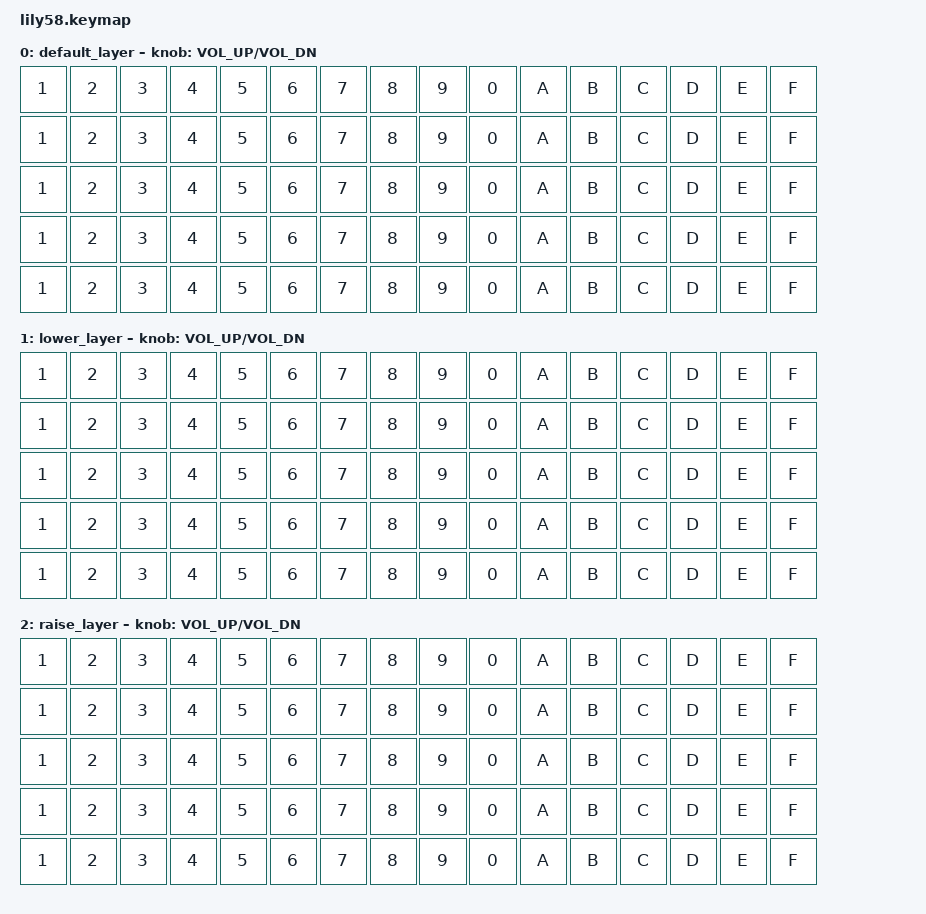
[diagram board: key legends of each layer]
/*
 * Copyright (c) 2020 The ZMK Contributors
 *
 * SPDX-License-Identifier: MIT
 */

#include <behaviors.dtsi>
#include <dt-bindings/zmk/keys.h>
#include <dt-bindings/zmk/bt.h>
#include <dt-bindings/zmk/ext_power.h>

/ {
    keymap {
        compatible = "zmk,keymap";

        default_layer {
// ------------------------------------------------------------------------------------------------------------
// |  ESC  |  1  |  2  |  3   |  4   |  5   |                   |  6   |  7    |  8    |  9   |   0   |   `   |
// |  TAB  |  Q  |  W  |  E   |  R   |  T   |                   |  Y   |  U    |  I    |  O   |   P   |   -   |
// |  CTRL |  A  |  S  |  D   |  F   |  G   |                   |  H   |  J    |  K    |  L   |   ;   |   '   |
// | SHIFT |  Z  |  X  |  C   |  V   |  B   |   "["  |  |  "]"  |  N   |  M    |  ,    |  .   |   /   | SHIFT |
//                     | ALT  | GUI  | LOWER|  SPACE |  | ENTER | RAISE| BSPC  | GUI   |
            bindings = <
&kp N1 &kp N2 &kp N3   &kp N4   &kp N5  &kp N6 &kp N7   &kp N8    &kp N9  &kp N0 &kp A &kp B &kp C &kp D &kp E &kp F
&kp N1 &kp N2 &kp N3   &kp N4   &kp N5  &kp N6 &kp N7   &kp N8    &kp N9  &kp N0 &kp A &kp B &kp C &kp D &kp E &kp F 
&kp N1 &kp N2 &kp N3   &kp N4   &kp N5  &kp N6 &kp N7   &kp N8    &kp N9  &kp N0 &kp A &kp B &kp C &kp D &kp E &kp F 
&kp N1 &kp N2 &kp N3   &kp N4   &kp N5  &kp N6 &kp N7   &kp N8    &kp N9  &kp N0 &kp A &kp B &kp C &kp D &kp E &kp F 
&kp N1 &kp N2 &kp N3   &kp N4   &kp N5  &kp N6 &kp N7   &kp N8    &kp N9  &kp N0 &kp A &kp B &kp C &kp D &kp E &kp F 
            >;

            sensor-bindings = <&inc_dec_kp C_VOL_UP C_VOL_DN>;
        };

        lower_layer {
// ------------------------------------------------------------------------------------------------------------
// | BTCLR | BT1 | BT2 |  BT3 |  BT4 |  BT5 |                   |      |       |       |      |       |       |
// |  F1   |  F2 |  F3 |  F4  |  F5  |  F6  |                   |  F7  |  F8   |  F9   |  F10 |  F11  |  F12  |
// |   `   |  !  |  @  |  #   |  $   |  %   |                   |  ^   |  &    |  *    |  (   |   )   |   ~   |
// |       |     |     |      |      |      |        |  |       |      |  _    |  +    |  {   |   }   |  "|"  |
//                     |      |      |      |        |  |       |      |       |       |
            bindings = <
&kp N1 &kp N2 &kp N3   &kp N4   &kp N5  &kp N6 &kp N7   &kp N8    &kp N9  &kp N0 &kp A &kp B &kp C &kp D &kp E &kp F
&kp N1 &kp N2 &kp N3   &kp N4   &kp N5  &kp N6 &kp N7   &kp N8    &kp N9  &kp N0 &kp A &kp B &kp C &kp D &kp E &kp F 
&kp N1 &kp N2 &kp N3   &kp N4   &kp N5  &kp N6 &kp N7   &kp N8    &kp N9  &kp N0 &kp A &kp B &kp C &kp D &kp E &kp F 
&kp N1 &kp N2 &kp N3   &kp N4   &kp N5  &kp N6 &kp N7   &kp N8    &kp N9  &kp N0 &kp A &kp B &kp C &kp D &kp E &kp F 
&kp N1 &kp N2 &kp N3   &kp N4   &kp N5  &kp N6 &kp N7   &kp N8    &kp N9  &kp N0 &kp A &kp B &kp C &kp D &kp E &kp F                     
            >;

            sensor-bindings = <&inc_dec_kp C_VOL_UP C_VOL_DN>;
        };

        raise_layer {
// ------------------------------------------------------------------------------------------------------------
// |       |     |     |      |      |      |                   |      |       |       |      |       |       |
// |   `   |  1  |  2  |  3   |  4   |  5   |                   |  6   |   7   |   8   |  9   |   0   |       |
// |   F1  |  F2 |  F3 |  F4  |  F5  |  F6  |                   |      |   <-  |   v   |  ^   |  ->   |       |
// |   F7  |  F8 |  F9 |  F10 |  F11 |  F12 |        |  |       |  +   |   -   |   =   |  [   |   ]   |   \   |
//                     |      |      |      |        |  |       |      |       |       |
            bindings = <
&kp N1 &kp N2 &kp N3   &kp N4   &kp N5  &kp N6 &kp N7   &kp N8    &kp N9  &kp N0 &kp A &kp B &kp C &kp D &kp E &kp F
&kp N1 &kp N2 &kp N3   &kp N4   &kp N5  &kp N6 &kp N7   &kp N8    &kp N9  &kp N0 &kp A &kp B &kp C &kp D &kp E &kp F 
&kp N1 &kp N2 &kp N3   &kp N4   &kp N5  &kp N6 &kp N7   &kp N8    &kp N9  &kp N0 &kp A &kp B &kp C &kp D &kp E &kp F 
&kp N1 &kp N2 &kp N3   &kp N4   &kp N5  &kp N6 &kp N7   &kp N8    &kp N9  &kp N0 &kp A &kp B &kp C &kp D &kp E &kp F 
&kp N1 &kp N2 &kp N3   &kp N4   &kp N5  &kp N6 &kp N7   &kp N8    &kp N9  &kp N0 &kp A &kp B &kp C &kp D &kp E &kp F 
            >;

            sensor-bindings = <&inc_dec_kp C_VOL_UP C_VOL_DN>;
        };
    };
};
